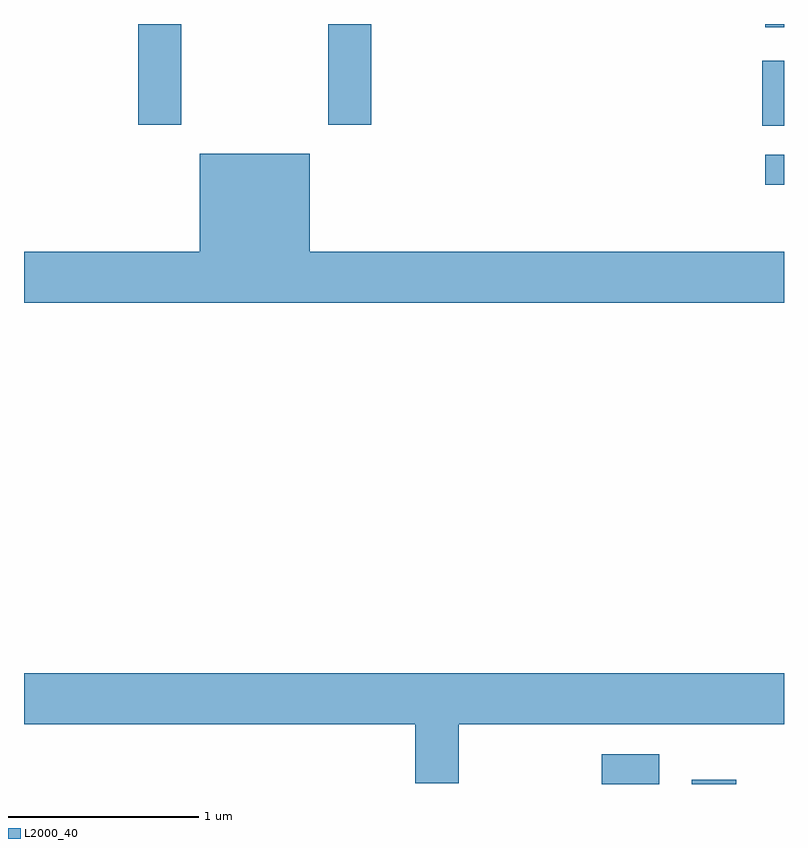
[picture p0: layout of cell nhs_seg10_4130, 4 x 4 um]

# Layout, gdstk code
import gdstk
lib = gdstk.Library(unit=1e-6, precision=1e-09)
def R(c, l, rs):  # rectangles x0, y0, x1, y1
    for r in rs: c.add(gdstk.rectangle(r[:2], r[2:], *l))
def P(c, l, *ps):  # polygons
    for p in ps: c.add(gdstk.Polygon(p, *l))
L2000_40 = (2000, 40)

nhs_seg10_4130 = lib.new_cell('nhs_seg10_4130')
R(nhs_seg10_4130, L2000_40, [(310.651,2082.522,310.954,2082.679), (311.126,2082.522,311.359,2082.544), (311.513,2085.676,311.611,2085.834), (311.496,2085.986,311.611,2086.329), (308.211,2085.991,308.439,2086.522), (309.211,2085.991,309.439,2086.522), (311.513,2086.506,311.611,2086.522)])
P(nhs_seg10_4130, L2000_40, [(311.611,2085.324),(309.114,2085.324),(309.114,2085.839),(308.536,2085.839),(308.536,2085.324),(307.611,2085.324),(307.611,2085.056),(311.611,2085.056)],
  [(309.899,2082.836),(311.611,2082.836),(311.611,2083.104),(307.611,2083.104),(307.611,2082.836),(309.671,2082.836),(309.671,2082.526),(309.899,2082.526)])

lib.write_gds('nhs_seg10_4130.gds')
